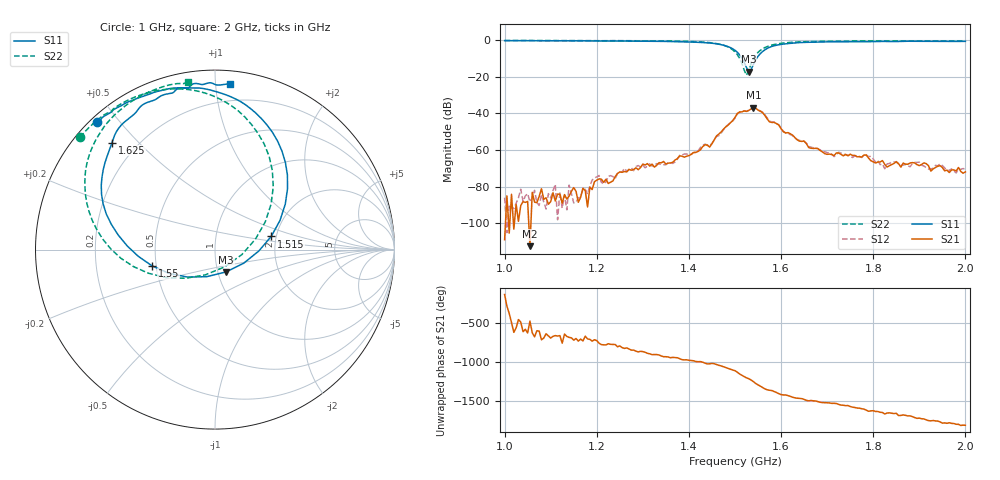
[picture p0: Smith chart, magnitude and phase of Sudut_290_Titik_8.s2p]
# Hz S RI R 50
! CMT, C1220, 16058040, 17.2.0/1
! Date: 14/08/2018 12:08:39
! Data: Format (Calibration Info)
! Freq  S11: Re/Im (F2)  S21: Re/Im (F2)  S12: Re/Im (F2)  S22: Re/Im (F2)
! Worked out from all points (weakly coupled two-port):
!   201 points, 1 GHz to 2 GHz, reference 50 ohm
!   highest |S21| = -36.97 dB at 1.54 GHz (marker M1); lowest = -112.5 dB at 1.055 GHz (marker M2)
!   lowest |S11| = -17.2 dB at 1.53 GHz (marker M3), VSWR 1.32, Z = 54.7 - j13.9 ohm
!   |S11| at or under -10 dB: 1.515 GHz to 1.547 GHz (31.68 MHz wide, 2.07 % of centre)
!   |S22| runs from -19.2 to -0.2 dB; largest |S21 - S12| = 0.00047
!   S11 on the Smith chart (normalised r, x): 1 GHz: 0.02, +0.44; 1.515 GHz: 1.88, +0.31; 1.55 GHz: 0.47, -0.10; 1.625 GHz: 0.11, +0.42; 2 GHz: 0.09, +1.09
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1e9  -0.6547 0.7097  -2.4e-06 -2.61e-06  4.83e-05 1.2e-05  -0.7534 0.6258
1.055e9  -0.6071 0.7492  -8.77e-07 -2.19e-06  -2.43e-05 2.96e-05  -0.7152 0.6667
1.17e9  -0.487 0.8218  9.01e-05 -8.97e-06  8.35e-05 9.48e-06  -0.6162 0.7516
1.205e9  -0.4417 0.8388  0.000133 -9.31e-05  0.00017 -0.000107  -0.58 0.7659
1.215e9  -0.4323 0.8429  7.28e-05 -0.000108  0.000101 -5.89e-05  -0.5753 0.7734
1.26e9  -0.3568 0.8696  -5.28e-05 -0.000253  -4.55e-05 -0.000311  -0.5219 0.8132
1.335e9  -0.23 0.9001  -0.000447 4.55e-05  -0.000412 7.96e-05  -0.3995 0.8664
1.445e9  0.1461 0.8225  0.000571 0.00106  0.000723 0.0011  -0.00652 0.8546
1.5e9  0.404 0.3377  0.00693 -0.00347  0.00654 -0.00342  0.3246 0.3507
1.515e9  0.3131 0.0733  0.000788 -0.011  0.00108 -0.011  0.2248 0.0574
1.525e9  0.1603 -0.0757  -0.00541 -0.0099  -0.00547 -0.0101  0.0533 -0.0965
1.53e9  0.0611 -0.1246  -0.00766 -0.00933  -0.00779 -0.00936  -0.0539 -0.1407
1.54e9  -0.1535 -0.1531  -0.0138 -0.0032  -0.0136 -0.00322  -0.2732 -0.1561
1.55e9  -0.3503 -0.0908  -0.0108 0.00584  -0.011 0.00554  -0.4542 -0.0946
1.58e9  -0.6235 0.2551  0.00107 0.00555  0.0014 0.00568  -0.7021 0.2129
1.625e9  -0.5736 0.5956  0.00252 -0.000285  0.00246 -0.000186  -0.7025 0.5205
1.67e9  -0.4632 0.7437  0.000669 -0.000872  0.00073 -0.000892  -0.6256 0.6733
1.715e9  -0.3778 0.8197  7.36e-05 -0.000696  3.89e-05 -0.000659  -0.5501 0.7591
1.785e9  -0.2364 0.8732  -0.000717 -0.000105  -0.000719 -0.000142  -0.4442 0.838
1.825e9  -0.1792 0.9014  -0.000305 0.000265  -0.000286 0.000112  -0.3881 0.8683
1.835e9  -0.1614 0.8996  -0.000332 0.000166  -0.000323 0.000281  -0.3748 0.8747
2e9  0.0853 0.9215  0.000251 -2.27e-05  0.000281 -7.47e-05  -0.1505 0.9338
